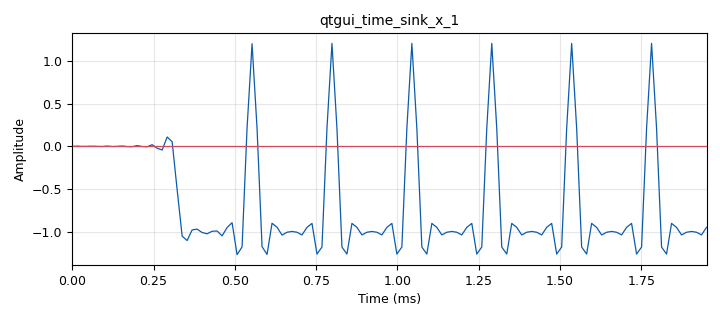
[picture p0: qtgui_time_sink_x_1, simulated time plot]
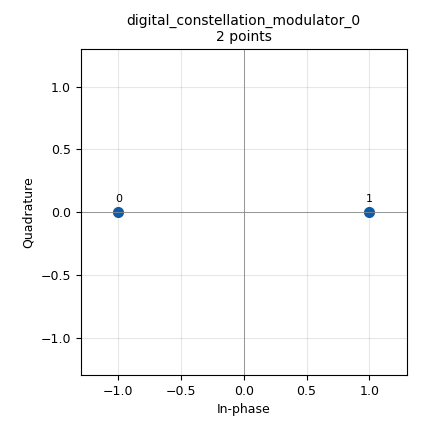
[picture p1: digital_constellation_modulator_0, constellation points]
options:
  parameters:
    author: yabool2001
    copyright: mzemlo.pl@gmail.com
    description: packet tx v2 tagged
    generate_options: qt_gui
    id: yabool2001_packet_tx_v2_tagged
    output_language: python
    title: packet tx v2
  states: {}

blocks:
- name: freq
  id: variable
  parameters:
    value: '820000000'
  states: {}
- name: my_constellation
  id: variable_constellation
  parameters:
    const_points: '[1, -1]'
    precision: '8'
    sym_map: '[0,1]'
    type: bpsk
  states: {}
- name: samp_rate
  id: variable
  parameters:
    value: '65105'
  states: {}
- name: sps
  id: variable
  parameters:
    value: '2'
  states: {}
- name: blocks_file_sink_0
  id: blocks_file_sink
  parameters:
    file: C:\Users\mzeml\Downloads\yabool2001_packet_tx_v2-tagged_output.txt
    type: complex
    unbuffered: 'True'
  states: {state: disabled}
- name: blocks_message_debug_0
  id: blocks_message_debug
  parameters: {}
  states: {}
- name: blocks_message_strobe_0
  id: blocks_message_strobe
  parameters:
    msg: pmt.make_u8vector ( 1 , 1 )
    period: '1000'
  states: {}
- name: blocks_stream_to_tagged_stream_0
  id: blocks_stream_to_tagged_stream
  parameters:
    len_tag_key: '"packet_len"'
    packet_len: '1'
    type: byte
  states: {}
- name: blocks_throttle2_0
  id: blocks_throttle2
  parameters:
    samples_per_second: samp_rate
    type: byte
  states: {}
- name: digital_constellation_modulator_0
  id: digital_constellation_modulator
  parameters:
    constellation: digital.constellation_bpsk().base()
    differential: 'False'
    excess_bw: '0.35'
    samples_per_symbol: sps
  states: {}
- name: epy_block_0
  id: epy_block
  parameters:
    _source_code: |
      import numpy as np
      from gnuradio import gr
      import pmt

      class pmt_to_stream(gr.sync_block):
          def __init__(self):
              gr.sync_block.__init__(self,
                  name="PMT 2 STREAM",
                  in_sig=None,
                  out_sig=[np.uint8])  # strumień bajtów (uint8)
              self.message_port_register_in(pmt.intern("in"))
              self.set_msg_handler(pmt.intern("in"), self.handle_msg)
              self.message = None  # None = brak danych

          def handle_msg(self, msg):
              if pmt.is_u8vector(msg):
                  vec = pmt.u8vector_elements(msg)
                  if len(vec) > 0:
                      self.message = bytearray(vec)
                  else:
                      self.message = None
              else:
                  self.message = None

          def work(self, input_items, output_items):
              out = output_items[0]
              if self.message:
                  # wypuść tylko tyle, ile mamy miejsca
                  length = min(len(out), len(self.message))
                  out[:length] = np.frombuffer(self.message[:length], dtype=np.uint8)
                  self.message = None  # wyczyść bufor po jednym pakiecie
                  return length
              return 0
  states: {}
- name: epy_block_1
  id: epy_block
  parameters:
    _source_code: |
      from gnuradio import gr
      import numpy as np
      import time

      class complex_logger(gr.sync_block):
          def __init__(self, filename="yabool2001_packet_tx_v2-tagged_output.txt"):
              gr.sync_block.__init__(self,
                  name="COMPLEX LOG",
                  in_sig=[np.complex64],
                  out_sig=None)
              self.f = open(filename, "a")
              self.start_time = time.time()
              self.sample_index = 0

          def work(self, input_items, output_items):
              current_time = time.time()
              elapsed = current_time - self.start_time
              samp_rate = self.sample_rate()

              for i, c in enumerate(input_items[0]):
                  timestamp = elapsed + (i / samp_rate)
                  self.f.write(f"{timestamp:.6f},{c.real:.6f},{c.imag:.6f}\n")

              self.f.flush()
              return len(input_items[0])

          def sample_rate(self):
              # Spróbuj odczytać próbkującą częstotliwość z upstream
              try:
                  return self.sample_rate_hz
              except AttributeError:
                  # Domyślna wartość jeśli nie ustawiona
                  return 65105  # <- możesz dopasować do swojego systemu
    filename: '"yabool2001_packet_tx_v2-tagged_output.txt"'
  states: {}
- name: iio_pluto_sink_0
  id: iio_pluto_sink
  parameters:
    attenuation1: '10.0'
    bandwidth: '20000000'
    buffer_size: '32768'
    cyclic: 'False'
    filter_source: '''Auto'''
    frequency: int(freq)
    samplerate: int(samp_rate)
    type: fc32
    uri: ip:192.168.2.1
  states: {state: disabled}
- name: qtgui_time_sink_x_1
  id: qtgui_time_sink_x
  parameters:
    autoscale: 'True'
    label1: ''
    label2: ''
    legend: 'False'
    size: '256'
    srate: samp_rate
    tr_tag: packet_len
    type: complex
    ymax: '2'
    ymin: '-2'
  states: {}

connections:
- [blocks_message_strobe_0, strobe, blocks_message_debug_0, print]
- [blocks_message_strobe_0, strobe, epy_block_0, in]
- [blocks_stream_to_tagged_stream_0, '0', blocks_throttle2_0, '0']
- [blocks_throttle2_0, '0', digital_constellation_modulator_0, '0']
- [digital_constellation_modulator_0, '0', blocks_file_sink_0, '0']
- [digital_constellation_modulator_0, '0', epy_block_1, '0']
- [digital_constellation_modulator_0, '0', iio_pluto_sink_0, '0']
- [digital_constellation_modulator_0, '0', qtgui_time_sink_x_1, '0']
- [epy_block_0, '0', blocks_stream_to_tagged_stream_0, '0']

metadata:
  file_format: 1
  grc_version: 3.10.12.0
